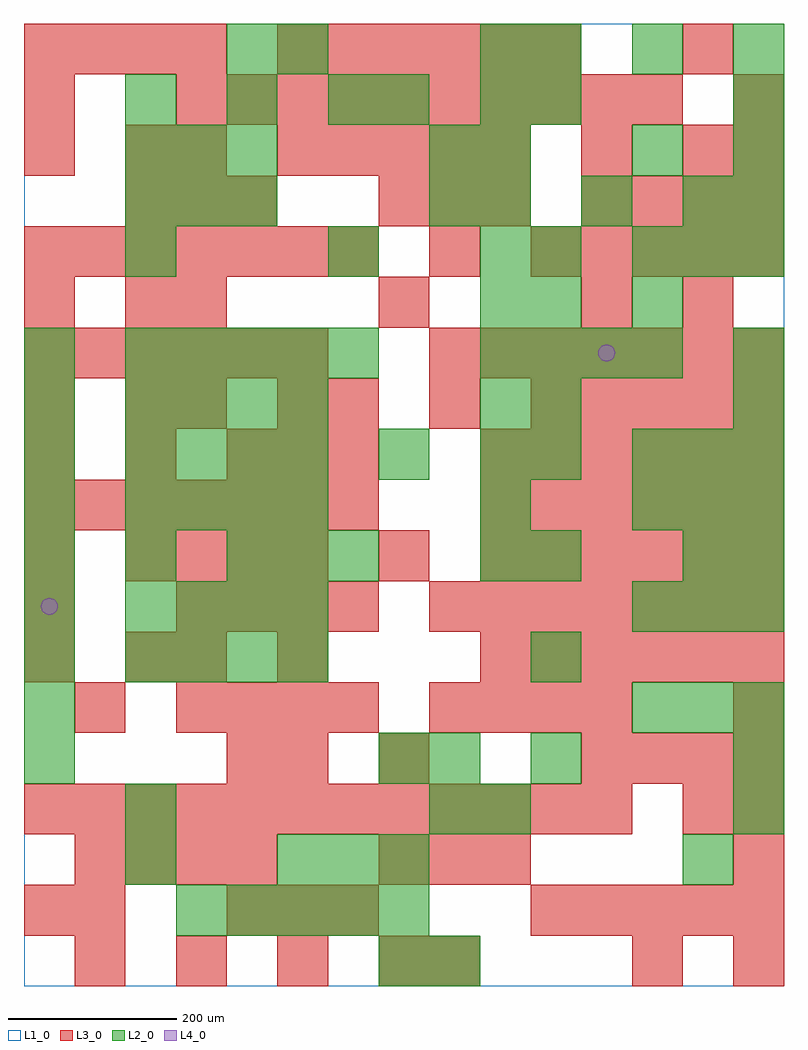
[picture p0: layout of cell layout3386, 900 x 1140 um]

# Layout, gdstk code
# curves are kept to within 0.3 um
import gdstk
lib = gdstk.Library(unit=1e-6, precision=1e-09)
def R(c, l, rs):  # rectangles x0, y0, x1, y1
    for r in rs: c.add(gdstk.rectangle(r[:2], r[2:], *l))
def A(c, l, x, y, w, h, nx, ny, dx, dy):  # array of equal rectangles
    R(c, l, [(x+i*dx, y+j*dy, x+i*dx+w, y+j*dy+h) for i in range(nx) for j in range(ny)])
def P(c, l, *ps):  # polygons
    for p in ps: c.add(gdstk.Polygon(p, *l))
L1_0 = (1, 0)
L2_0 = (2, 0)
L3_0 = (3, 0)
L4_0 = (4, 0)

layout3386 = lib.new_cell('layout3386')
R(layout3386, L1_0, [(0,0,900,1140)])
A(layout3386, L2_0, 180, 60, 60, 60, 5, 1, 60, 0)
A(layout3386, L2_0, 300, 120, 60, 60, 3, 1, 60, 0)
A(layout3386, L2_0, 0, 240, 60, 60, 1, 4, 0, 60)
A(layout3386, L2_0, 600, 240, 60, 60, 1, 4, 0, 120)
A(layout3386, L2_0, 720, 300, 60, 60, 3, 3, 60, 120)
A(layout3386, L2_0, 120, 360, 60, 60, 4, 2, 60, 60)
A(layout3386, L2_0, 0, 480, 60, 60, 3, 1, 120, 0)
A(layout3386, L2_0, 540, 480, 60, 60, 1, 4, 0, 60)
A(layout3386, L2_0, 0, 540, 60, 60, 1, 4, 0, 60)
A(layout3386, L2_0, 120, 540, 60, 60, 4, 3, 60, 60)
A(layout3386, L2_0, 720, 600, 60, 60, 3, 2, 60, 240)
A(layout3386, L2_0, 120, 720, 60, 60, 5, 1, 60, 0)
A(layout3386, L2_0, 540, 720, 60, 60, 4, 1, 60, 0)
A(layout3386, L2_0, 120, 900, 60, 60, 3, 2, 60, 60)
A(layout3386, L2_0, 540, 900, 60, 60, 3, 1, 120, 0)
A(layout3386, L2_0, 840, 900, 60, 60, 1, 3, 0, 60)
A(layout3386, L2_0, 540, 960, 60, 60, 1, 3, 0, 60)
A(layout3386, L2_0, 120, 1020, 60, 60, 3, 1, 120, 0)
A(layout3386, L2_0, 600, 1080, 60, 60, 3, 1, 120, 0)
R(layout3386, L2_0, [(420,0,480,60), (480,0,540,60), (120,120,180,180), (780,120,840,180), (120,180,180,240), (480,180,540,240), (540,180,600,240), (840,180,900,240), (420,240,480,300), (480,240,540,300), (840,240,900,300), (300,480,360,540), (360,480,420,540), (780,480,840,540), (840,480,900,540), (420,600,480,660), (600,660,660,720), (840,660,900,720), (840,720,900,780), (540,780,600,840), (600,780,660,840), (720,780,780,840), (120,840,180,900), (360,840,420,900), (540,840,600,900), (600,840,660,900), (480,900,540,960), (480,960,540,1020), (720,960,780,1020), (420,1020,480,1080), (600,1020,660,1080), (240,1080,300,1140), (300,1080,360,1140)])
A(layout3386, L3_0, 60, 0, 60, 60, 4, 1, 120, 0)
A(layout3386, L3_0, 240, 60, 60, 60, 3, 1, 60, 0)
A(layout3386, L3_0, 600, 60, 60, 60, 5, 2, 60, 780)
A(layout3386, L3_0, 60, 120, 60, 60, 4, 1, 60, 0)
A(layout3386, L3_0, 420, 120, 60, 60, 3, 2, 60, 780)
A(layout3386, L3_0, 0, 180, 60, 60, 12, 1, 60, 0)
A(layout3386, L3_0, 660, 240, 60, 60, 4, 2, 60, 420)
A(layout3386, L3_0, 180, 300, 60, 60, 4, 2, 60, 120)
A(layout3386, L3_0, 480, 300, 60, 60, 4, 1, 60, 0)
A(layout3386, L3_0, 0, 360, 60, 60, 1, 3, 0, 60)
A(layout3386, L3_0, 180, 360, 60, 60, 1, 3, 0, 300)
A(layout3386, L3_0, 540, 360, 60, 60, 6, 2, 60, 120)
A(layout3386, L3_0, 480, 420, 60, 60, 7, 2, 60, 300)
A(layout3386, L3_0, 120, 480, 60, 60, 4, 1, 60, 0)
A(layout3386, L3_0, 0, 540, 60, 60, 7, 2, 60, 300)
A(layout3386, L3_0, 540, 540, 60, 60, 6, 2, 60, 60)
A(layout3386, L3_0, 0, 600, 60, 60, 3, 1, 120, 0)
A(layout3386, L3_0, 360, 660, 60, 60, 3, 1, 120, 0)
A(layout3386, L3_0, 0, 720, 60, 60, 6, 1, 60, 0)
A(layout3386, L3_0, 180, 780, 60, 60, 3, 1, 240, 0)
A(layout3386, L3_0, 120, 900, 60, 60, 3, 1, 60, 0)
A(layout3386, L3_0, 660, 900, 60, 60, 4, 1, 60, 0)
A(layout3386, L3_0, 300, 960, 60, 60, 5, 1, 60, 0)
A(layout3386, L3_0, 180, 1020, 60, 60, 10, 1, 60, 0)
A(layout3386, L3_0, 0, 1080, 60, 60, 4, 1, 60, 0)
A(layout3386, L3_0, 300, 1080, 60, 60, 6, 1, 60, 0)
R(layout3386, L3_0, [(480,0,540,60), (720,0,780,60), (840,0,900,60), (0,60,60,120), (60,60,120,120), (840,120,900,180), (780,180,840,240), (840,180,900,240), (240,240,300,300), (300,240,360,300), (420,240,480,300), (60,300,120,360), (840,300,900,360), (120,360,180,420), (300,360,360,420), (420,480,480,540), (300,600,360,660), (360,600,420,660), (0,660,60,720), (120,660,180,720), (300,660,360,720), (0,780,60,840), (120,780,180,840), (780,780,840,840), (480,840,540,900), (0,960,60,1020), (120,960,180,1020), (660,960,720,1020), (780,960,840,1020), (840,960,900,1020), (0,1020,60,1080), (840,1020,900,1080), (780,1080,840,1140)])
P(layout3386, L4_0, [(40,450),(39.239,453.827),(37.071,457.071),(33.827,459.239),(30,460),(26.173,459.239),(22.929,457.071),(20.761,453.827),(20,450),(20.761,446.173),(22.929,442.929),(26.173,440.761),(30,440),(33.827,440.761),(37.071,442.929),(39.239,446.173)],
  [(700,750),(699.239,753.827),(697.071,757.071),(693.827,759.239),(690,760),(686.173,759.239),(682.929,757.071),(680.761,753.827),(680,750),(680.761,746.173),(682.929,742.929),(686.173,740.761),(690,740),(693.827,740.761),(697.071,742.929),(699.239,746.173)])

lib.write_gds('layout3386.gds')
